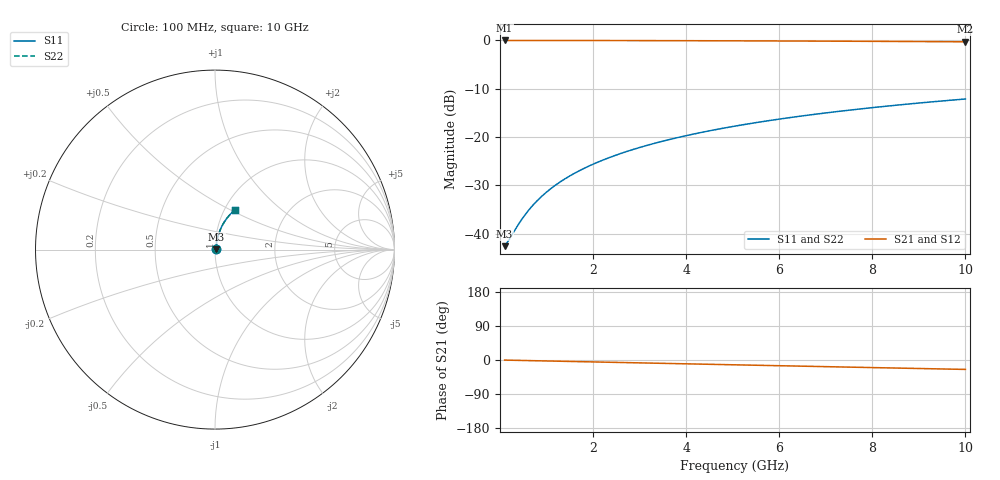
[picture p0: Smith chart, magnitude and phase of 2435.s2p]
# Hz S RI R 50.00
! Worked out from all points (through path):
!   100 points, 100 MHz to 10 GHz, reference 50 ohm
!   highest |S21| = -0.06 dB at 100 MHz (marker M1); lowest = -0.3 dB at 10 GHz (marker M2)
!   group delay of S21, straight-line fit = 6.91 ps
!   lowest |S11| = -42.6 dB at 100 MHz (marker M3), VSWR 1.01, Z = 50.7 + j0.26 ohm
!   |S11| at or under -10 dB: start of sweep to end of sweep
!   |S22| runs from -42.6 to -12.2 dB; largest |S21 - S12| = 0
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1e8  0.00696 0.00256  0.993 -0.00438  0.993 -0.00438  0.00696 0.00256
2e8  0.00704 0.00512  0.9929 -0.00877  0.9929 -0.00877  0.00704 0.00512
4e8  0.00724 0.0102  0.9927 -0.0175  0.9927 -0.0175  0.00724 0.0102
5e8  0.00736 0.0128  0.9926 -0.0219  0.9926 -0.0219  0.00736 0.0128
6e8  0.00751 0.0153  0.9924 -0.0263  0.9924 -0.0263  0.00751 0.0153
7e8  0.00767 0.0179  0.9922 -0.0307  0.9922 -0.0307  0.00767 0.0179
8e8  0.00786 0.0204  0.992 -0.035  0.992 -0.035  0.00786 0.0204
1e9  0.00829 0.0255  0.9915 -0.0438  0.9915 -0.0438  0.00829 0.0255
1.2e9  0.00882 0.0306  0.9909 -0.0525  0.9909 -0.0525  0.00882 0.0306
1.5e9  0.00976 0.0382  0.9898 -0.0656  0.9898 -0.0656  0.00976 0.0382
1.8e9  0.0109 0.0458  0.9885 -0.0787  0.9885 -0.0787  0.0109 0.0458
2.1e9  0.0122 0.0534  0.987 -0.0917  0.987 -0.0917  0.0122 0.0534
2.5e9  0.0143 0.0633  0.9846 -0.109  0.9846 -0.109  0.0143 0.0633
2.9e9  0.0168 0.0732  0.9818 -0.1262  0.9818 -0.1262  0.0168 0.0732
3.4e9  0.0203 0.0854  0.9777 -0.1475  0.9777 -0.1475  0.0203 0.0854
4.2e9  0.027 0.1046  0.97 -0.1813  0.97 -0.1813  0.027 0.1046
5.1e9  0.0361 0.1254  0.9594 -0.2186  0.9594 -0.2186  0.0361 0.1254
5.9e9  0.0455 0.1432  0.9485 -0.2511  0.9485 -0.2511  0.0455 0.1432
6.7e9  0.0561 0.1602  0.9363 -0.2828  0.9363 -0.2828  0.0561 0.1602
7.5e9  0.0677 0.1763  0.9227 -0.3137  0.9227 -0.3137  0.0677 0.1763
8.4e9  0.082 0.1933  0.9059 -0.3473  0.9059 -0.3473  0.082 0.1933
1e10  0.1101 0.2205  0.8727 -0.404  0.8727 -0.404  0.1101 0.2205
